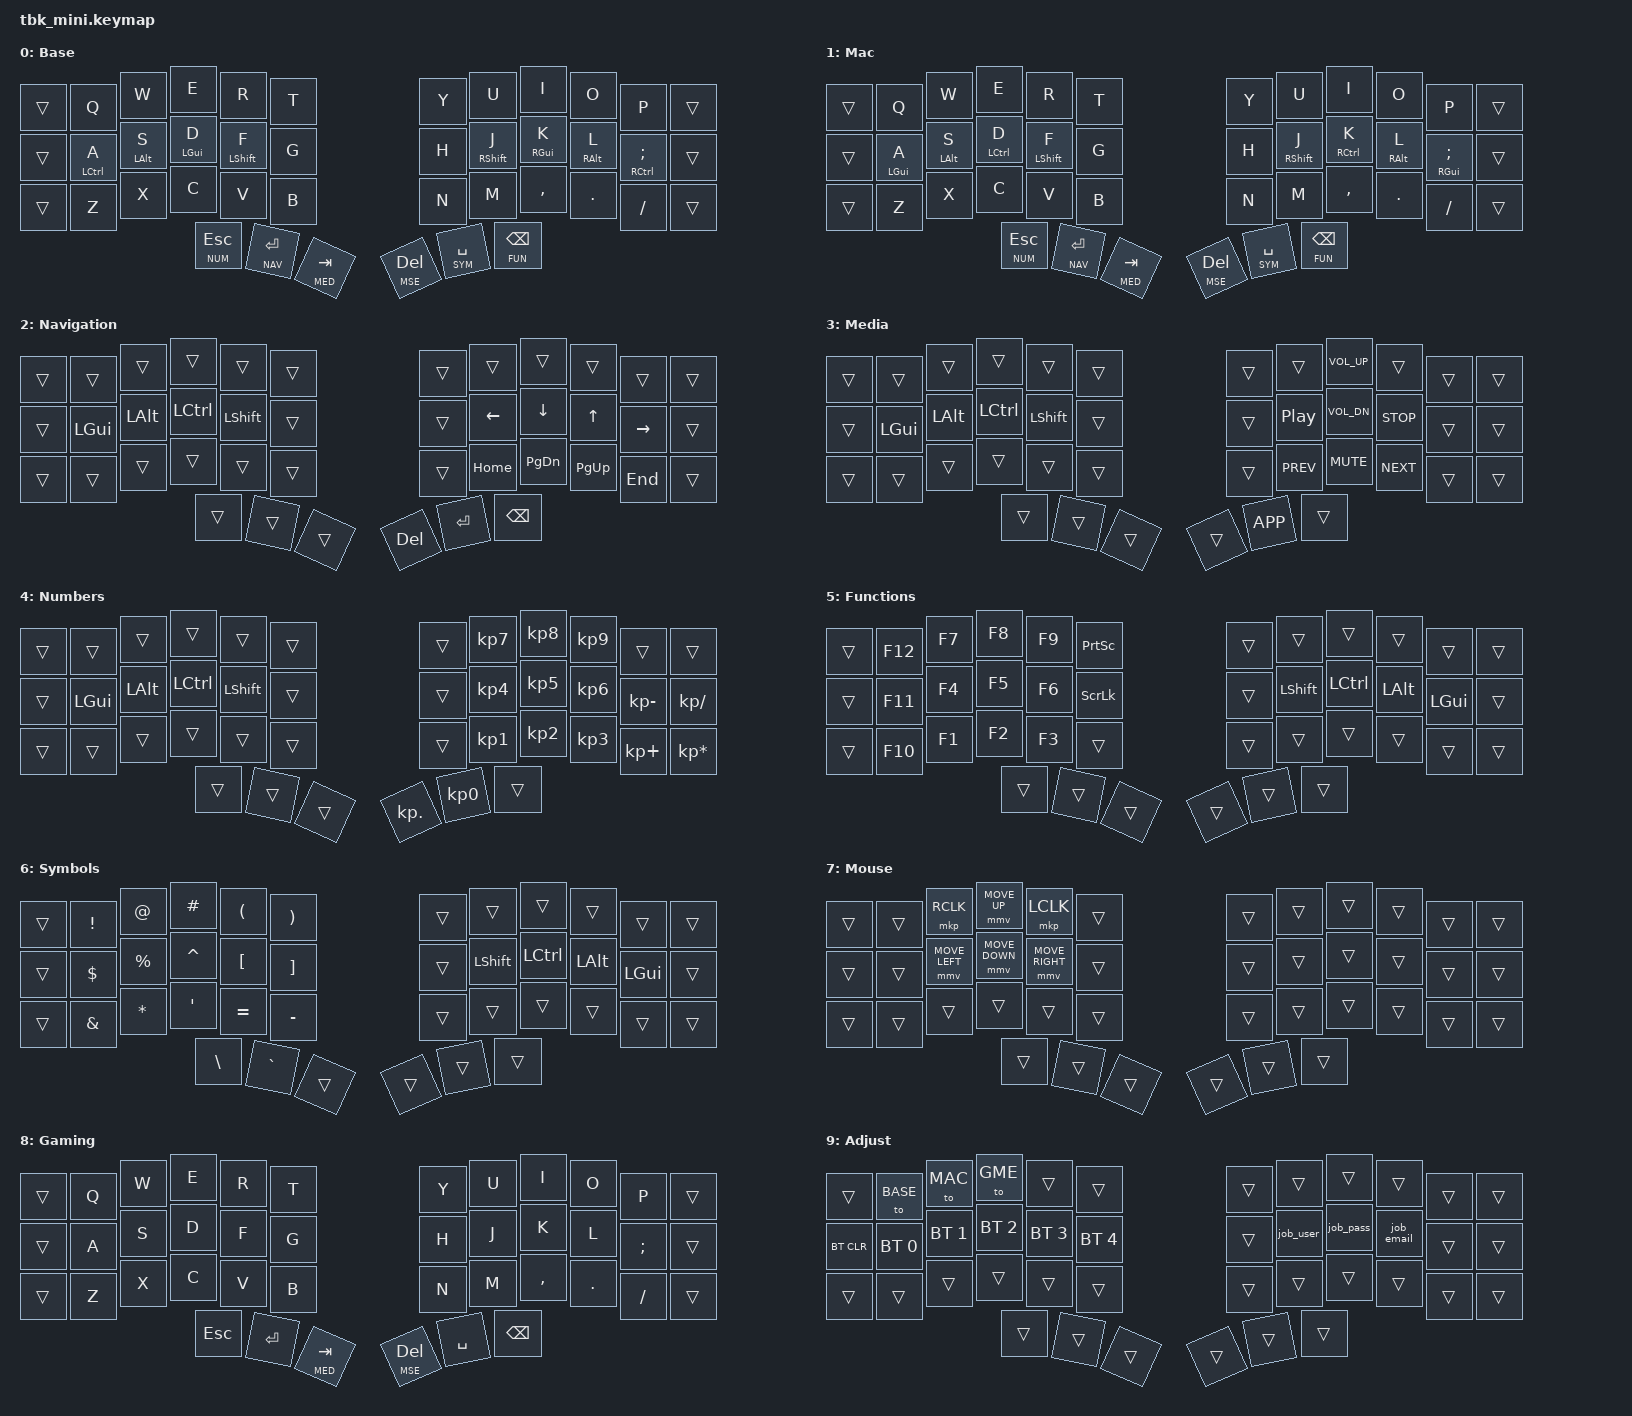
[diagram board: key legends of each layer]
/*
 * Copyright (c) 2020 The ZMK Contributors
 *
 * SPDX-License-Identifier: MIT
 */

#include <behaviors.dtsi>
#include <dt-bindings/zmk/keys.h>
#include <dt-bindings/zmk/bt.h>
#include <dt-bindings/zmk/pointing.h>

/* Global parameters for Home Row Mods */
#define HRM_TERM 280
#define HRM_QUICK_TAP 175
#define HRM_PRIOR_IDLE 150

/* Global parameters for Thumbs */
#define THUMB_TERM 200
#define THUMB_QUICK_TAP 200

#define LEFT_HAND_KEYS 0 1 2 3 4 5 12 13 14 15 16 17 24 25 26 27 28 29 36 37 38
#define RIGHT_HAND_KEYS 6 7 8 9 10 11 18 19 20 21 22 23 30 31 32 33 34 35 39 40 41

#define BASE 0
#define MAC  1
#define NAV  2
#define MED  3
#define NUM  4
#define FUN  5
#define SYM  6
#define MSE  7
#define GME  8
#define ADJ  9

/ {
        conditional_layers {
                compatible = "zmk,conditional-layers";
                adjust_layer {
                        if-layers = <MED MSE>;
                        then-layer = <ADJ>;
                };
        };

        macros {
                job_user: job_user {
                        compatible = "zmk,behavior-macro";
                        #binding-cells = <0>;
                        bindings = <&kp J &kp U &kp A &kp A &kp R &kp I &kp A &kp S>;
                        label = "JOB_USER";
                };

                job_pass: job_pass {
                        compatible = "zmk,behavior-macro";
                        #binding-cells = <0>;
                        bindings = <&kp MINUS &kp LS(S) &kp H &kp A &kp K &kp I &kp R &kp A &kp N0 &kp N9 &kp N8 &kp N7 &kp DOT>;
                        label = "JOB_PASS";
                };

                job_email: job_email {
                        compatible = "zmk,behavior-macro";
                        #binding-cells = <0>;
                        bindings = <&kp J &kp U &kp A &kp N &kp DOT &kp J &kp A &kp R &kp I &kp A &kp S &kp AT &kp M &kp E &kp R &kp C &kp A &kp D &kp O &kp L &kp I &kp B &kp R &kp E &kp DOT &kp C &kp O &kp M &kp DOT &kp C &kp O>;
                        label = "JOB_EMAIL";
                };
        };

        behaviors {
                hrm_l: homerow_mod_left {
                        compatible = "zmk,behavior-hold-tap";
                        display-name = "HRM_L";
                        #binding-cells = <2>;
                        flavor = "balanced";
                        tapping-term-ms = <HRM_TERM>;
                        quick-tap-ms = <HRM_QUICK_TAP>;
                        require-prior-idle-ms = <HRM_PRIOR_IDLE>;
                        bindings = <&kp>, <&kp>;
                        hold-trigger-key-positions = <RIGHT_HAND_KEYS>;
                        hold-trigger-on-release;
                };

                hrm_r: homerow_mod_right {
                        compatible = "zmk,behavior-hold-tap";
                        display-name = "HRM_R";
                        #binding-cells = <2>;
                        flavor = "balanced";
                        tapping-term-ms = <HRM_TERM>;
                        quick-tap-ms = <HRM_QUICK_TAP>;
                        require-prior-idle-ms = <HRM_PRIOR_IDLE>;
                        bindings = <&kp>, <&kp>;
                        hold-trigger-key-positions = <LEFT_HAND_KEYS>;
                        hold-trigger-on-release;
                };

                lt_hp: layer_tap_hold_preferred {
                        compatible = "zmk,behavior-hold-tap";
                        display-name = "LT_HP";
                        #binding-cells = <2>;
                        flavor = "tap-preferred";
                        tapping-term-ms = <THUMB_TERM>;
                        quick-tap-ms = <THUMB_QUICK_TAP>;
                        bindings = <&mo>, <&kp>;
                };
        };

        keymap {
                compatible = "zmk,keymap";

                base_layer {
                        display-name = "Base";
                        bindings = <
                                &trans          &kp Q           &kp W           &kp E           &kp R           &kp T                   &kp Y           &kp U           &kp I           &kp O           &kp P                   &trans
                                &trans          &hrm_l LCTRL A  &hrm_l LALT S   &hrm_l LGUI D   &hrm_l LSHFT F  &kp G                   &kp H           &hrm_r RSHFT J  &hrm_r RGUI K  &hrm_r RALT L   &hrm_r RCTRL SEMI        &trans
                                &trans          &kp Z           &kp X           &kp C           &kp V           &kp B                   &kp N           &kp M           &kp COMMA       &kp DOT         &kp FSLH                &trans
                                                                                &lt_hp NUM ESC  &lt_hp NAV RET  &lt_hp MED TAB          &lt_hp MSE DEL  &lt_hp SYM SPACE &lt_hp FUN BSPC
                        >;
                };

                mac_layer {
                        display-name = "Mac";
                        bindings = <
                                &trans          &kp Q           &kp W           &kp E           &kp R           &kp T                   &kp Y           &kp U           &kp I           &kp O           &kp P                   &trans
                                &trans          &hrm_l LGUI A   &hrm_l LALT S   &hrm_l LCTRL D  &hrm_l LSHFT F  &kp G                   &kp H           &hrm_r RSHFT J  &hrm_r RCTRL K  &hrm_r RALT L   &hrm_r RGUI SEMI        &trans
                                &trans          &kp Z           &kp X           &kp C           &kp V           &kp B                   &kp N           &kp M           &kp COMMA       &kp DOT         &kp FSLH                &trans
                                                                                &lt_hp NUM ESC  &lt_hp NAV RET  &lt_hp MED TAB          &lt_hp MSE DEL  &lt_hp SYM SPACE &lt_hp FUN BSPC
                        >;
                };

                navigation_layer {
                        display-name = "Navigation";
                        bindings = <
                                &trans          &trans          &trans          &trans          &trans          &trans                  &trans          &trans          &trans          &trans          &trans          &trans
                                &trans          &kp LGUI        &kp LALT        &kp LCTRL       &kp LSHFT       &trans                  &trans          &kp LEFT        &kp DOWN        &kp UP          &kp RIGHT       &trans  
                                &trans          &trans          &trans          &trans          &trans          &trans                  &trans          &kp HOME        &kp PG_DN       &kp PG_UP       &kp END         &trans
                                                                                &trans          &trans          &trans                  &kp DEL         &kp RET         &kp BSPC        
                        >;
                };

                media_layer {
                        display-name = "Media";
                        bindings = <
                                &trans          &trans          &trans          &trans          &trans          &trans                  &trans          &trans          &kp C_VOL_UP    &trans          &trans          &trans
                                &trans          &kp LGUI        &kp LALT        &kp LCTRL       &kp LSHFT       &trans                  &trans          &kp C_PP        &kp C_VOL_DN    &kp C_STOP      &trans          &trans
                                &trans          &trans          &trans          &trans          &trans          &trans                  &trans          &kp C_PREV      &kp C_MUTE      &kp C_NEXT      &trans          &trans
                                                                                &trans          &trans          &trans                  &trans          &kp K_APP       &trans
                        >;
                };

                numbers_layer {
                        display-name = "Numbers";
                        bindings = <
                                &trans          &trans          &trans          &trans          &trans          &trans                  &trans          &kp KP_N7       &kp KP_N8       &kp KP_N9       &trans          &trans
                                &trans          &kp LGUI        &kp LALT        &kp LCTRL       &kp LSHFT       &trans                  &trans          &kp KP_N4       &kp KP_N5       &kp KP_N6       &kp KP_MINUS    &kp KP_DIVIDE
                                &trans          &trans          &trans          &trans          &trans          &trans                  &trans          &kp KP_N1       &kp KP_N2       &kp KP_N3       &kp KP_PLUS     &kp KP_MULTIPLY
                                                                                &trans          &trans          &trans                  &kp KP_DOT      &kp KP_N0       &trans
                        >;
                };

                functions_layer {
                        display-name = "Functions";
                        bindings = <
                                &trans          &kp F12         &kp F7          &kp F8          &kp F9          &kp PSCRN               &trans          &trans          &trans          &trans          &trans          &trans
                                &trans          &kp F11         &kp F4          &kp F5          &kp F6          &kp SLCK                &trans          &kp LSHFT       &kp LCTRL       &kp LALT        &kp LGUI        &trans
                                &trans          &kp F10         &kp F1          &kp F2          &kp F3          &trans                  &trans          &trans          &trans          &trans          &trans          &trans
                                                                                &trans          &trans          &trans                  &trans          &trans          &trans
                        >;
                };

                symbols_layer {
                        display-name = "Symbols";
                        bindings = <
                                &trans          &kp EXCL        &kp AT          &kp HASH        &kp LPAR        &kp RPAR                &trans          &trans          &trans          &trans          &trans          &trans
                                &trans          &kp DOLLAR      &kp PERCENT     &kp CARET       &kp LBKT        &kp RBKT                &trans          &kp LSHFT       &kp LCTRL       &kp LALT        &kp LGUI        &trans
                                &trans          &kp AMPS        &kp ASTRK       &kp SQT         &kp EQUAL       &kp MINUS               &trans          &trans          &trans          &trans          &trans          &trans
                                                                                &kp BSLH        &kp GRAVE       &trans                  &trans          &trans          &trans
                        >;
                };

                mouse_layer {
                        display-name = "Mouse";
                        bindings = <
                                &trans          &trans          &mkp RCLK       &mmv MOVE_UP    &mkp LCLK       &trans                  &trans          &trans          &trans          &trans          &trans          &trans
                                &trans          &trans          &mmv MOVE_LEFT  &mmv MOVE_DOWN  &mmv MOVE_RIGHT &trans                  &trans          &trans          &trans          &trans          &trans          &trans
                                &trans          &trans          &trans          &trans          &trans          &trans                  &trans          &trans          &trans          &trans          &trans          &trans
                                                                                &trans          &trans          &trans                  &trans          &trans          &trans
                        >;
                };

                gaming_layer {
                        display-name = "Gaming";
                        bindings = <
                                &trans          &kp Q           &kp W           &kp E           &kp R           &kp T                   &kp Y           &kp U           &kp I           &kp O           &kp P           &trans
                                &trans          &kp A           &kp S           &kp D           &kp F           &kp G                   &kp H           &kp J           &kp K           &kp L           &kp SEMI        &trans
                                &trans          &kp Z           &kp X           &kp C           &kp V           &kp B                   &kp N           &kp M           &kp COMMA       &kp DOT         &kp FSLH        &trans
                                                                                &kp ESC         &kp RET         &lt_hp MED TAB          &lt_hp MSE DEL  &kp SPACE       &kp BSPC
                        >;
                };

                adjust_layer {
                        display-name = "Adjust";
                        bindings = <
                                &trans          &to BASE        &to MAC         &to GME         &trans          &trans                  &trans          &trans          &trans          &trans          &trans          &trans
                                &bt BT_CLR      &bt BT_SEL 0    &bt BT_SEL 1    &bt BT_SEL 2    &bt BT_SEL 3    &bt BT_SEL 4            &trans          &job_user       &job_pass       &job_email      &trans          &trans
                                &trans          &trans          &trans          &trans          &trans          &trans                  &trans          &trans          &trans          &trans          &trans          &trans
                                                                                &trans          &trans          &trans                  &trans          &trans          &trans
                        >;
                };

                //blank_layer {
                //        display-name = "Blank";
                //        bindings = <
                //                &trans          &trans          &trans          &trans          &trans          &trans                  &trans          &trans          &trans          &trans          &trans          &trans
                //                &trans          &trans          &trans          &trans          &trans          &trans                  &trans          &trans          &trans          &trans          &trans          &trans
                //                &trans          &trans          &trans          &trans          &trans          &trans                  &trans          &trans          &trans          &trans          &trans          &trans
                //                                                                &trans          &trans          &trans                  &trans          &trans          &trans
                //        >;
                //};
        };
};
